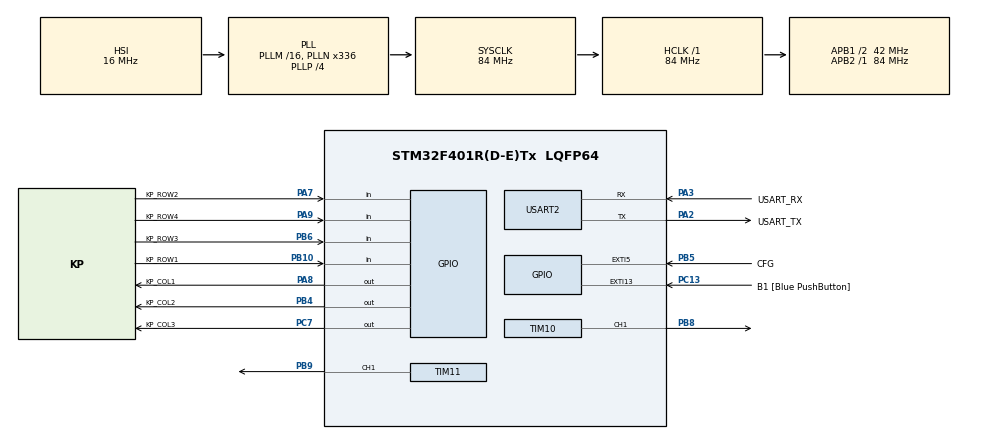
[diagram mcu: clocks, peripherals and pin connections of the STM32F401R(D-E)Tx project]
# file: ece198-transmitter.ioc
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Mcu.Family=STM32F4
Mcu.Name=STM32F401R(D-E)Tx
Mcu.Package=LQFP64
NVIC.EXTI15_10_IRQn=true\:0\:0\:false\:false\:true\:true\:true\:true
NVIC.EXTI9_5_IRQn=true\:0\:0\:false\:false\:true\:true\:true\:true
NVIC.PriorityGroup=NVIC_PRIORITYGROUP_0
NVIC.TIM2_IRQn=true\:0\:0\:false\:false\:true\:true\:true\:true
NVIC.USART2_IRQn=true\:0\:0\:false\:false\:true\:true\:true\:true
PA13.GPIO_Label=TMS
PA13.Mode=Serial_Wire
PA13.Signal=SYS_JTMS-SWDIO
PA14.GPIO_Label=TCK
PA14.Mode=Serial_Wire
PA14.Signal=SYS_JTCK-SWCLK
PA2.GPIO_Label=USART_TX
PA2.GPIO_Mode=GPIO_MODE_AF_PP
PA2.GPIO_PuPd=GPIO_NOPULL
PA2.GPIO_Speed=GPIO_SPEED_FREQ_LOW
PA2.Mode=Asynchronous
PA2.Signal=USART2_TX
PA3.GPIO_Label=USART_RX
PA3.GPIO_Mode=GPIO_MODE_AF_PP
PA3.GPIO_PuPd=GPIO_NOPULL
PA3.GPIO_Speed=GPIO_SPEED_FREQ_LOW
PA3.Mode=Asynchronous
PA3.Signal=USART2_RX
PA5.GPIO_Label=LD2
PA5.Signal=S_TIM2_CH1_ETR
PA7.GPIO_Label=KP_ROW2
PA7.GPIO_PuPd=GPIO_PULLDOWN
PA7.Signal=GPIO_Input
PA8.GPIO_Label=KP_COL1
PA8.Signal=GPIO_Output
PA9.GPIO_Label=KP_ROW4
PA9.GPIO_PuPd=GPIO_PULLDOWN
PA9.Signal=GPIO_Input
PB10.GPIO_Label=KP_ROW1
PB10.GPIO_PuPd=GPIO_PULLDOWN
PB10.Signal=GPIO_Input
PB3.GPIO_Label=SWO
PB3.Signal=SYS_JTDO-SWO
PB4.GPIO_Label=KP_COL2
PB4.Signal=GPIO_Output
PB5.GPIO_Label=CFG
PB5.GPIO_ModeDefaultEXTI=GPIO_MODE_IT_RISING_FALLING
PB5.Signal=GPXTI5
PB6.GPIO_Label=KP_ROW3
PB6.GPIO_PuPd=GPIO_PULLDOWN
PB6.Signal=GPIO_Input
PB8.Signal=S_TIM10_CH1
PB9.Signal=S_TIM11_CH1
PC13-ANTI_TAMP.GPIO_Label=B1 [Blue PushButton]
PC13-ANTI_TAMP.GPIO_ModeDefaultEXTI=GPIO_MODE_IT_FALLING
PC13-ANTI_TAMP.GPIO_PuPd=GPIO_NOPULL
PC13-ANTI_TAMP.Signal=GPXTI13
PC14-OSC32_IN.Mode=LSE-External-Oscillator
PC14-OSC32_IN.Signal=RCC_OSC32_IN
PC15-OSC32_OUT.Mode=LSE-External-Oscillator
PC15-OSC32_OUT.Signal=RCC_OSC32_OUT
PC7.GPIO_Label=KP_COL3
PC7.Signal=GPIO_Output
PH0\ -\ OSC_IN.Mode=HSE-External-Clock-Source
PH0\ -\ OSC_IN.Signal=RCC_OSC_IN
PH1\ -\ OSC_OUT.Mode=HSE-External-Clock-Source
PH1\ -\ OSC_OUT.Signal=RCC_OSC_OUT
ProjectManager.HeapSize=0x200
ProjectManager.StackSize=0x400
ProjectManager.TargetToolchain=STM32CubeIDE
RCC.48MHZClocksFreq_Value=48000000
RCC.AHBFreq_Value=84000000
RCC.APB1CLKDivider=RCC_HCLK_DIV2
RCC.APB1Freq_Value=42000000
RCC.APB1TimFreq_Value=84000000
RCC.APB2Freq_Value=84000000
RCC.APB2TimFreq_Value=84000000
RCC.CortexFreq_Value=84000000
RCC.HCLKFreq_Value=84000000
RCC.HSE_VALUE=8000000
RCC.HSI_VALUE=16000000
RCC.PLLN=336
RCC.PLLP=RCC_PLLP_DIV4
RCC.PLLQ=7
RCC.SYSCLKFreq_VALUE=84000000
RCC.SYSCLKSource=RCC_SYSCLKSOURCE_PLLCLK
RCC.VCOOutputFreq_Value=336000000
SH.S_TIM10_CH1.0=TIM10_CH1,PWM Generation1 CH1
SH.S_TIM11_CH1.0=TIM11_CH1,PWM Generation1 CH1
SH.S_TIM2_CH1_ETR.0=TIM2_CH1
TIM10.Channel=TIM_CHANNEL_1
TIM10.OCMode_PWM=TIM_OCMODE_PWM2
TIM10.OCPolarity_1=TIM_OCPOLARITY_LOW
TIM10.Period=500
TIM10.Prescaler=83
TIM10.Pulse=1
TIM11.Channel=TIM_CHANNEL_1
TIM11.OCMode_PWM=TIM_OCMODE_PWM2
TIM11.OCPolarity_1=TIM_OCPOLARITY_LOW
TIM11.Period=500
TIM11.Prescaler=83
TIM11.Pulse=1
TIM2.Period=999
TIM2.Prescaler=839
TIM2.TIM_MasterOutputTrigger=TIM_TRGO_UPDATE
USART2.VirtualMode=VM_ASYNC
VP_TIM10_VS_ClockSourceINT.Mode=Enable_Timer
VP_TIM10_VS_OPM.Mode=OPM_bit
VP_TIM11_VS_ClockSourceINT.Mode=Enable_Timer
VP_TIM11_VS_OPM.Mode=OPM_bit
VP_TIM2_VS_ClockSourceINT.Mode=Internal
board=NUCLEO-F401RE

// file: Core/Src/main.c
/* USER CODE BEGIN Header */
/**
 ******************************************************************************
 * @file           : main.c
 * @brief          : Main program body
 ******************************************************************************
 * @attention
 *
 * Copyright (c) 2024 STMicroelectronics.
 * All rights reserved.
 *
 * This software is licensed under terms that can be found in the LICENSE file
 * in the root directory of this software component.
 * If no LICENSE file comes with this software, it is provided AS-IS.
 *
 ******************************************************************************
 */
/* USER CODE END Header */
#include "main.h"

/* USER CODE BEGIN Includes */
#include <stddef.h>
#include <stdio.h>
#include <stdbool.h>
#include <string.h>
#include "ring_buffer.h"
/* USER CODE END Includes */

TIM_HandleTypeDef htim2;
TIM_HandleTypeDef htim10;
TIM_HandleTypeDef htim11;

UART_HandleTypeDef huart2;

/* USER CODE BEGIN PV */
RingBuffer ring_buffer;
uint8_t current_byte = 0;
uint8_t shift_count = 0;

bool kp_states_prev[12];
bool kp_states[12];

bool cfg_ready = false;
uint32_t cfg_ready_tick = 0;
/* USER CODE END PV */

void SystemClock_Config(void);
static void MX_GPIO_Init(void);
static void MX_USART2_UART_Init(void);
static void MX_TIM2_Init(void);
static void MX_TIM10_Init(void);
static void MX_TIM11_Init(void);
/* USER CODE BEGIN PFP */
static void Main_TIM_OnePulse_Fire(TIM_HandleTypeDef *htim);
static void kp_read();
static void cfg_set_armed(bool armed);
static bool cfg_is_ready();
/* USER CODE END PFP */

/* USER CODE BEGIN 0 */
// Not provided by STM HAL. Fires a oneshot timer from software.
static void Main_TIM_OnePulse_Fire(TIM_HandleTypeDef *htim) {
	htim->Instance->CR1 |= TIM_CR1_CEN;
}

static void kp_read() {
	GPIO_TypeDef* const col_ports[3] = {
		KP_COL1_GPIO_Port,
		KP_COL2_GPIO_Port,
		KP_COL3_GPIO_Port,
	};
	uint32_t const col_pins[3] = {
		KP_COL1_Pin,
		KP_COL2_Pin,
		KP_COL3_Pin,
	};

	GPIO_TypeDef* const row_ports[4] = {
		KP_ROW1_GPIO_Port,
		KP_ROW2_GPIO_Port,
		KP_ROW3_GPIO_Port,
		KP_ROW4_GPIO_Port,
	};
	uint32_t const row_pins[4] = {
		KP_ROW1_Pin,
		KP_ROW2_Pin,
		KP_ROW3_Pin,
		KP_ROW4_Pin,
	};

	for (size_t c = 0; c < 3; c++) {
		HAL_GPIO_WritePin(col_ports[c], col_pins[c], 1);
		for (size_t r = 0; r < 4; r++) {
			kp_states[3 * r + c] = HAL_GPIO_ReadPin(row_ports[r], row_pins[r]);
		}
		HAL_GPIO_WritePin(col_ports[c], col_pins[c], 0);
	}
}

static void cfg_set_armed(bool armed) {
  if (armed) {
    cfg_ready = true;
    cfg_ready_tick = HAL_GetTick();
  }
  else {
    cfg_ready = false;
  }
}

static bool cfg_is_ready() {
  const uint32_t cfg_delay = 30;
  return cfg_ready && ((HAL_GetTick() - cfg_ready_tick) >= 30);
}

void HAL_TIM_PeriodElapsedCallback(TIM_HandleTypeDef *htim) {
	if (htim == &htim2) {
	  if (!cfg_is_ready())
	    return;
		// check if we need a new byte
		if (shift_count == 0) {
			TakeResult res = ring_buffer_take(&ring_buffer);
			if (!res.is_valid) {
				return;
			}
			shift_count = 8;
			current_byte = res.value;
		}
		// get the next bit
		uint8_t next_bit = current_byte & 0x01;
		// shift right, tally up
		current_byte >>= 1;
		shift_count--;

		if (next_bit) {
			Main_TIM_OnePulse_Fire(&htim10);
		} else {
			Main_TIM_OnePulse_Fire(&htim11);
		}

		return;
	}
}

// 01100101
// -> 1 0 1 0 0 1 1 0

void HAL_GPIO_EXTI_Callback(uint16_t GPIO_Pin) {
	switch (GPIO_Pin) {
	case CFG_Pin:
	{
	  bool pin_value = HAL_GPIO_ReadPin(CFG_GPIO_Port, CFG_Pin);
	  // CFG line is ready when pulled LOW, so need to invert it
	  cfg_set_armed(!pin_value);
	}
	case B1_Pin:
	{
	  if (cfg_is_ready()) {
	    printf("ready\r\n");
      ring_buffer_put(&ring_buffer, 0x31);
	  }
	  else {
      printf("waiting\r\n");
	  }
	}
	  break;
	}
}
/* USER CODE END 0 */

int main(void)
{

  /* MCU Configuration--------------------------------------------------------*/

  /* Reset of all peripherals, Initializes the Flash interface and the Systick. */
  HAL_Init();

  /* USER CODE BEGIN Init */
	ring_buffer_init(&ring_buffer);
  /* USER CODE END Init */

  /* Configure the system clock */
  SystemClock_Config();

  /* Initialize all configured peripherals */
  MX_GPIO_Init();
  MX_USART2_UART_Init();
  MX_TIM2_Init();
  MX_TIM10_Init();
  MX_TIM11_Init();
  /* USER CODE BEGIN 2 */
  // Start master output timer
	HAL_TIM_Base_Start_IT(&htim2);
	// Arm data line pulse timers
	HAL_TIM_OnePulse_Start(&htim10, TIM_CHANNEL_1);
	HAL_TIM_OnePulse_Start(&htim11, TIM_CHANNEL_1);

	// Check if CFG line is already pulled down
	if (!HAL_GPIO_ReadPin(CFG_GPIO_Port, CFG_Pin)) {
	  cfg_set_armed(true);
	}

  /* USER CODE END 2 */

  /* Infinite loop */
  /* USER CODE BEGIN WHILE */
	// Value of variable is numerical value of button pressed on keypad
	// If button is currently not pressed, value is -1

	// Set D11, D9, D7 as outputs
//  HAL_GPIO_TogglePin(GPIOA, GPIO_PIN_7);
//  HAL_GPIO_TogglePin(GPIOB, GPIO_PIN_7);
//  HAL_GPIO_TogglePin(GPIOA, GPIO_PIN_7);

	while (1) {
    /* USER CODE END WHILE */

    /* USER CODE BEGIN 3 */
		kp_read();
		for (uint32_t i = 0; i < 12; i++) {
			if (kp_states[i] && !kp_states_prev[i]) {
				printf("pressed %lu\r\n", i);
			}
		}

		memcpy(kp_states_prev, kp_states, sizeof(kp_states));
		HAL_Delay(10);
	}
  /* USER CODE END 3 */
}

void SystemClock_Config(void)
{
  RCC_OscInitTypeDef RCC_OscInitStruct = {0};
  RCC_ClkInitTypeDef RCC_ClkInitStruct = {0};

  /** Configure the main internal regulator output voltage
  */
  __HAL_RCC_PWR_CLK_ENABLE();
  __HAL_PWR_VOLTAGESCALING_CONFIG(PWR_REGULATOR_VOLTAGE_SCALE2);

  /** Initializes the RCC Oscillators according to the specified parameters
  * in the RCC_OscInitTypeDef structure.
  */
  RCC_OscInitStruct.OscillatorType = RCC_OSCILLATORTYPE_HSI;
  RCC_OscInitStruct.HSIState = RCC_HSI_ON;
  RCC_OscInitStruct.HSICalibrationValue = RCC_HSICALIBRATION_DEFAULT;
  RCC_OscInitStruct.PLL.PLLState = RCC_PLL_ON;
  RCC_OscInitStruct.PLL.PLLSource = RCC_PLLSOURCE_HSI;
  RCC_OscInitStruct.PLL.PLLM = 16;
  RCC_OscInitStruct.PLL.PLLN = 336;
  RCC_OscInitStruct.PLL.PLLP = RCC_PLLP_DIV4;
  RCC_OscInitStruct.PLL.PLLQ = 7;
  if (HAL_RCC_OscConfig(&RCC_OscInitStruct) != HAL_OK)
  {
    Error_Handler();
  }

  /** Initializes the CPU, AHB and APB buses clocks
  */
  RCC_ClkInitStruct.ClockType = RCC_CLOCKTYPE_HCLK|RCC_CLOCKTYPE_SYSCLK
                              |RCC_CLOCKTYPE_PCLK1|RCC_CLOCKTYPE_PCLK2;
  RCC_ClkInitStruct.SYSCLKSource = RCC_SYSCLKSOURCE_PLLCLK;
  RCC_ClkInitStruct.AHBCLKDivider = RCC_SYSCLK_DIV1;
  RCC_ClkInitStruct.APB1CLKDivider = RCC_HCLK_DIV2;
  RCC_ClkInitStruct.APB2CLKDivider = RCC_HCLK_DIV1;

  if (HAL_RCC_ClockConfig(&RCC_ClkInitStruct, FLASH_LATENCY_2) != HAL_OK)
  {
    Error_Handler();
  }
}

static void MX_TIM2_Init(void)
{

  TIM_ClockConfigTypeDef sClockSourceConfig = {0};
  TIM_MasterConfigTypeDef sMasterConfig = {0};

  htim2.Instance = TIM2;
  htim2.Init.Prescaler = 839;
  htim2.Init.CounterMode = TIM_COUNTERMODE_UP;
  htim2.Init.Period = 999;
  htim2.Init.ClockDivision = TIM_CLOCKDIVISION_DIV1;
  htim2.Init.AutoReloadPreload = TIM_AUTORELOAD_PRELOAD_DISABLE;
  if (HAL_TIM_Base_Init(&htim2) != HAL_OK)
  {
    Error_Handler();
  }
  sClockSourceConfig.ClockSource = TIM_CLOCKSOURCE_INTERNAL;
  if (HAL_TIM_ConfigClockSource(&htim2, &sClockSourceConfig) != HAL_OK)
  {
    Error_Handler();
  }
  sMasterConfig.MasterOutputTrigger = TIM_TRGO_UPDATE;
  sMasterConfig.MasterSlaveMode = TIM_MASTERSLAVEMODE_DISABLE;
  if (HAL_TIMEx_MasterConfigSynchronization(&htim2, &sMasterConfig) != HAL_OK)
  {
    Error_Handler();
  }

}

static void MX_TIM10_Init(void)
{

  TIM_OC_InitTypeDef sConfigOC = {0};

  htim10.Instance = TIM10;
  htim10.Init.Prescaler = 83;
  htim10.Init.CounterMode = TIM_COUNTERMODE_UP;
  htim10.Init.Period = 500;
  htim10.Init.ClockDivision = TIM_CLOCKDIVISION_DIV1;
  htim10.Init.AutoReloadPreload = TIM_AUTORELOAD_PRELOAD_DISABLE;
  if (HAL_TIM_Base_Init(&htim10) != HAL_OK)
  {
    Error_Handler();
  }
  if (HAL_TIM_PWM_Init(&htim10) != HAL_OK)
  {
    Error_Handler();
  }
  if (HAL_TIM_OnePulse_Init(&htim10, TIM_OPMODE_SINGLE) != HAL_OK)
  {
    Error_Handler();
  }
  sConfigOC.OCMode = TIM_OCMODE_PWM2;
  sConfigOC.Pulse = 1;
  sConfigOC.OCPolarity = TIM_OCPOLARITY_LOW;
  sConfigOC.OCFastMode = TIM_OCFAST_DISABLE;
  if (HAL_TIM_PWM_ConfigChannel(&htim10, &sConfigOC, TIM_CHANNEL_1) != HAL_OK)
  {
    Error_Handler();
  }
  HAL_TIM_MspPostInit(&htim10);

}

static void MX_TIM11_Init(void)
{

  TIM_OC_InitTypeDef sConfigOC = {0};

  htim11.Instance = TIM11;
  htim11.Init.Prescaler = 83;
  htim11.Init.CounterMode = TIM_COUNTERMODE_UP;
  htim11.Init.Period = 500;
  htim11.Init.ClockDivision = TIM_CLOCKDIVISION_DIV1;
  htim11.Init.AutoReloadPreload = TIM_AUTORELOAD_PRELOAD_DISABLE;
  if (HAL_TIM_Base_Init(&htim11) != HAL_OK)
  {
    Error_Handler();
  }
  if (HAL_TIM_PWM_Init(&htim11) != HAL_OK)
  {
    Error_Handler();
  }
  if (HAL_TIM_OnePulse_Init(&htim11, TIM_OPMODE_SINGLE) != HAL_OK)
  {
    Error_Handler();
  }
  sConfigOC.OCMode = TIM_OCMODE_PWM2;
  sConfigOC.Pulse = 1;
  sConfigOC.OCPolarity = TIM_OCPOLARITY_LOW;
  sConfigOC.OCFastMode = TIM_OCFAST_DISABLE;
  if (HAL_TIM_PWM_ConfigChannel(&htim11, &sConfigOC, TIM_CHANNEL_1) != HAL_OK)
  {
    Error_Handler();
  }
  HAL_TIM_MspPostInit(&htim11);

}

static void MX_USART2_UART_Init(void)
{

  huart2.Instance = USART2;
  huart2.Init.BaudRate = 115200;
  huart2.Init.WordLength = UART_WORDLENGTH_8B;
  huart2.Init.StopBits = UART_STOPBITS_1;
  huart2.Init.Parity = UART_PARITY_NONE;
  huart2.Init.Mode = UART_MODE_TX_RX;
  huart2.Init.HwFlowCtl = UART_HWCONTROL_NONE;
  huart2.Init.OverSampling = UART_OVERSAMPLING_16;
  if (HAL_UART_Init(&huart2) != HAL_OK)
  {
    Error_Handler();
  }

}

static void MX_GPIO_Init(void)
{
  GPIO_InitTypeDef GPIO_InitStruct = {0};

  /* GPIO Ports Clock Enable */
  __HAL_RCC_GPIOC_CLK_ENABLE();
  __HAL_RCC_GPIOH_CLK_ENABLE();
  __HAL_RCC_GPIOA_CLK_ENABLE();
  __HAL_RCC_GPIOB_CLK_ENABLE();

  /*Configure GPIO pin Output Level */
  HAL_GPIO_WritePin(KP_COL3_GPIO_Port, KP_COL3_Pin, GPIO_PIN_RESET);

  /*Configure GPIO pin Output Level */
  HAL_GPIO_WritePin(KP_COL1_GPIO_Port, KP_COL1_Pin, GPIO_PIN_RESET);

  /*Configure GPIO pin Output Level */
  HAL_GPIO_WritePin(KP_COL2_GPIO_Port, KP_COL2_Pin, GPIO_PIN_RESET);

  /*Configure GPIO pin : B1_Pin */
  GPIO_InitStruct.Pin = B1_Pin;
  GPIO_InitStruct.Mode = GPIO_MODE_IT_FALLING;
  GPIO_InitStruct.Pull = GPIO_NOPULL;
  HAL_GPIO_Init(B1_GPIO_Port, &GPIO_InitStruct);

  /*Configure GPIO pins : KP_ROW2_Pin KP_ROW4_Pin */
  GPIO_InitStruct.Pin = KP_ROW2_Pin|KP_ROW4_Pin;
  GPIO_InitStruct.Mode = GPIO_MODE_INPUT;
  GPIO_InitStruct.Pull = GPIO_PULLDOWN;
  HAL_GPIO_Init(GPIOA, &GPIO_InitStruct);

  /*Configure GPIO pins : KP_ROW1_Pin KP_ROW3_Pin */
  GPIO_InitStruct.Pin = KP_ROW1_Pin|KP_ROW3_Pin;
  GPIO_InitStruct.Mode = GPIO_MODE_INPUT;
  GPIO_InitStruct.Pull = GPIO_PULLDOWN;
  HAL_GPIO_Init(GPIOB, &GPIO_InitStruct);

  /*Configure GPIO pin : KP_COL3_Pin */
  GPIO_InitStruct.Pin = KP_COL3_Pin;
  GPIO_InitStruct.Mode = GPIO_MODE_OUTPUT_PP;
  GPIO_InitStruct.Pull = GPIO_NOPULL;
  GPIO_InitStruct.Speed = GPIO_SPEED_FREQ_LOW;
  HAL_GPIO_Init(KP_COL3_GPIO_Port, &GPIO_InitStruct);

  /*Configure GPIO pin : KP_COL1_Pin */
  GPIO_InitStruct.Pin = KP_COL1_Pin;
  GPIO_InitStruct.Mode = GPIO_MODE_OUTPUT_PP;
  GPIO_InitStruct.Pull = GPIO_NOPULL;
  GPIO_InitStruct.Speed = GPIO_SPEED_FREQ_LOW;
  HAL_GPIO_Init(KP_COL1_GPIO_Port, &GPIO_InitStruct);

  /*Configure GPIO pin : KP_COL2_Pin */
  GPIO_InitStruct.Pin = KP_COL2_Pin;
  GPIO_InitStruct.Mode = GPIO_MODE_OUTPUT_PP;
  GPIO_InitStruct.Pull = GPIO_NOPULL;
  GPIO_InitStruct.Speed = GPIO_SPEED_FREQ_LOW;
  HAL_GPIO_Init(KP_COL2_GPIO_Port, &GPIO_InitStruct);

  /*Configure GPIO pin : CFG_Pin */
  GPIO_InitStruct.Pin = CFG_Pin;
  GPIO_InitStruct.Mode = GPIO_MODE_IT_RISING_FALLING;
  GPIO_InitStruct.Pull = GPIO_NOPULL;
  HAL_GPIO_Init(CFG_GPIO_Port, &GPIO_InitStruct);

  /* EXTI interrupt init*/
  HAL_NVIC_SetPriority(EXTI9_5_IRQn, 0, 0);
  HAL_NVIC_EnableIRQ(EXTI9_5_IRQn);

  HAL_NVIC_SetPriority(EXTI15_10_IRQn, 0, 0);
  HAL_NVIC_EnableIRQ(EXTI15_10_IRQn);

}

void Error_Handler(void)
{
	__disable_irq();
	while (1) {
	}
}
